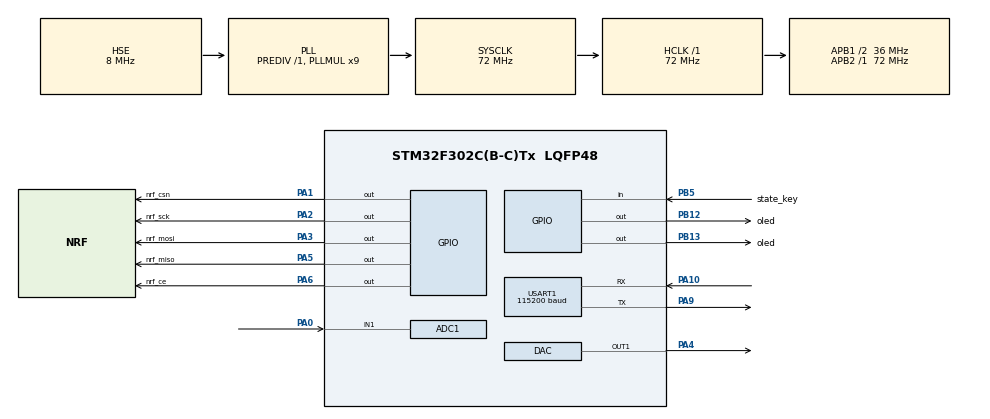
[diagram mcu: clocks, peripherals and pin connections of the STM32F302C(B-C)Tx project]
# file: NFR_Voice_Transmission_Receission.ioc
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ADC1.Channel-1\#ChannelRegularConversion=ADC_CHANNEL_1
ADC1.ExternalTrigConv=ADC_EXTERNALTRIGCONV_T2_TRGO
ADC1.NbrOfConversion=1
ADC1.NbrOfConversionFlag=1
ADC1.Offset-1\#ChannelRegularConversion=0
ADC1.OffsetNumber-1\#ChannelRegularConversion=ADC_OFFSET_NONE
ADC1.Rank-1\#ChannelRegularConversion=1
ADC1.SamplingTime-1\#ChannelRegularConversion=ADC_SAMPLETIME_1CYCLE_5
ADC1.SamplingTimeOPAMP-1\#ChannelRegularConversion=ADC_SAMPLETIME_61CYCLES_5
ADC1.master=1
DAC.DAC_OutputBuffer-DAC_OUT1=DAC_OUTPUTBUFFER_ENABLE
DAC.DAC_Trigger-DAC_OUT1=DAC_TRIGGER_T2_TRGO
DAC.WaveGeneration-DAC_OUT1=DISABLE
Dma.ADC1.1.Direction=DMA_PERIPH_TO_MEMORY
Dma.ADC1.1.Instance=DMA1_Channel1
Dma.ADC1.1.MemDataAlignment=DMA_MDATAALIGN_HALFWORD
Dma.ADC1.1.MemInc=DMA_MINC_ENABLE
Dma.ADC1.1.Mode=DMA_NORMAL
Dma.ADC1.1.PeriphDataAlignment=DMA_PDATAALIGN_HALFWORD
Dma.ADC1.1.PeriphInc=DMA_PINC_DISABLE
Dma.ADC1.1.Priority=DMA_PRIORITY_LOW
Dma.DAC_CH1.0.Direction=DMA_MEMORY_TO_PERIPH
Dma.DAC_CH1.0.Instance=DMA1_Channel3
Dma.DAC_CH1.0.MemDataAlignment=DMA_MDATAALIGN_HALFWORD
Dma.DAC_CH1.0.MemInc=DMA_MINC_ENABLE
Dma.DAC_CH1.0.Mode=DMA_CIRCULAR
Dma.DAC_CH1.0.PeriphDataAlignment=DMA_PDATAALIGN_HALFWORD
Dma.DAC_CH1.0.PeriphInc=DMA_PINC_DISABLE
Dma.DAC_CH1.0.Priority=DMA_PRIORITY_HIGH
Dma.Request0=DAC_CH1
Dma.Request1=ADC1
Mcu.Family=STM32F3
Mcu.Name=STM32F302C(B-C)Tx
Mcu.Package=LQFP48
NVIC.DMA1_Channel1_IRQn=true\:0\:0\:false\:false\:true\:false\:true\:true
NVIC.DMA1_Channel3_IRQn=true\:0\:0\:false\:false\:true\:false\:true\:true
NVIC.PriorityGroup=NVIC_PRIORITYGROUP_4
NVIC.TIM3_IRQn=true\:3\:0\:true\:false\:true\:true\:true\:true
PA0.Mode=IN1-Single-Ended
PA0.Signal=ADC1_IN1
PA1.GPIO_Label=nrf_csn
PA1.Signal=GPIO_Output
PA10.Mode=Asynchronous
PA10.Signal=USART1_RX
PA13.Mode=Serial_Wire
PA13.Signal=SYS_JTMS-SWDIO
PA14.Mode=Serial_Wire
PA14.Signal=SYS_JTCK-SWCLK
PA2.GPIO_Label=nrf_sck
PA2.Signal=GPIO_Output
PA3.GPIO_Label=nrf_mosi
PA3.Signal=GPIO_Output
PA4.Signal=COMP_DAC1_group
PA5.GPIO_Label=nrf_miso
PA5.Signal=GPIO_Output
PA6.GPIO_Label=nrf_ce
PA6.Signal=GPIO_Output
PA9.Mode=Asynchronous
PA9.Signal=USART1_TX
PB12.GPIO_Label=oled
PB12.GPIO_Speed=GPIO_SPEED_FREQ_HIGH
PB12.PinState=GPIO_PIN_RESET
PB12.Signal=GPIO_Output
PB13.GPIO_Label=oled
PB13.GPIO_Speed=GPIO_SPEED_FREQ_HIGH
PB13.Signal=GPIO_Output
PB5.GPIO_Label=state_key
PB5.Signal=GPIO_Input
PC14-OSC32_IN.Mode=LSE-External-Oscillator
PC14-OSC32_IN.Signal=RCC_OSC32_IN
PC15-OSC32_OUT.Mode=LSE-External-Oscillator
PC15-OSC32_OUT.Signal=RCC_OSC32_OUT
PF0-OSC_IN.Mode=HSE-External-Oscillator
PF0-OSC_IN.Signal=RCC_OSC_IN
PF1-OSC_OUT.Mode=HSE-External-Oscillator
PF1-OSC_OUT.Signal=RCC_OSC_OUT
ProjectManager.HeapSize=0x200
ProjectManager.StackSize=0x400
ProjectManager.TargetToolchain=MDK-ARM V5.32
RCC.AHBFreq_Value=72000000
RCC.APB1CLKDivider=RCC_HCLK_DIV2
RCC.APB1Freq_Value=36000000
RCC.APB1TimFreq_Value=72000000
RCC.APB2Freq_Value=72000000
RCC.APB2TimFreq_Value=72000000
RCC.CortexFreq_Value=72000000
RCC.FLatency=FLASH_LATENCY_2
RCC.HCLKFreq_Value=72000000
RCC.HSE_VALUE=8000000
RCC.HSI_VALUE=8000000
RCC.PLLMUL=RCC_PLL_MUL9
RCC.PLLSourceVirtual=RCC_PLLSOURCE_HSE
RCC.SYSCLKFreq_VALUE=72000000
RCC.SYSCLKSourceVirtual=RCC_SYSCLKSOURCE_PLLCLK
RCC.USBFreq_Value=72000000
SH.COMP_DAC1_group.0=DAC_OUT1,DAC_OUT1
TIM2.AutoReloadPreload=TIM_AUTORELOAD_PRELOAD_DISABLE
TIM2.ClockDivision=TIM_CLOCKDIVISION_DIV1
TIM2.CounterMode=TIM_COUNTERMODE_UP
TIM2.Period=7200-1
TIM2.Prescaler=0
TIM2.TIM_MasterOutputTrigger=TIM_TRGO_UPDATE
TIM2.TIM_MasterSlaveMode=TIM_MASTERSLAVEMODE_DISABLE
TIM3.Period=719
TIM3.Prescaler=99
USART1.AutoBaudRateEnableParam=UART_ADVFEATURE_AUTOBAUDRATE_DISABLE
USART1.BaudRate=115200
USART1.DMADisableonRxErrorParam=ADVFEATURE_DMA_ENABLEONRXERROR
USART1.DataInvertParam=ADVFEATURE_DATAINV_DISABLE
USART1.MSBFirstParam=ADVFEATURE_MSBFIRST_DISABLE
USART1.Mode=MODE_TX_RX
USART1.OneBitSampling=UART_ONE_BIT_SAMPLE_DISABLE
USART1.OverSampling=UART_OVERSAMPLING_16
USART1.OverrunDisableParam=ADVFEATURE_OVERRUN_ENABLE
USART1.Parity=PARITY_NONE
USART1.RxPinLevelInvertParam=ADVFEATURE_RXINV_DISABLE
USART1.StopBits=STOPBITS_1
USART1.SwapParam=ADVFEATURE_SWAP_DISABLE
USART1.TxPinLevelInvertParam=ADVFEATURE_TXINV_DISABLE
USART1.VirtualMode-Asynchronous=VM_ASYNC
USART1.WordLength=WORDLENGTH_8B
VP_TIM2_VS_ClockSourceINT.Mode=Internal
VP_TIM3_VS_ClockSourceINT.Mode=Internal
board=custom

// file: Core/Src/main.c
/* USER CODE BEGIN Header */
/**
  ******************************************************************************
  * @file           : main.c
  * @brief          : Main program body
  ******************************************************************************
  * @attention
  *
  * Copyright (c) 2025 STMicroelectronics.
  * All rights reserved.
  *
  * This software is licensed under terms that can be found in the LICENSE file
  * in the root directory of this software component.
  * If no LICENSE file comes with this software, it is provided AS-IS.
  *
  ******************************************************************************
  */
/* USER CODE END Header */
#include "main.h"
#include "adc.h"
#include "dac.h"
#include "dma.h"
#include "tim.h"
#include "usart.h"
#include "gpio.h"

/* USER CODE BEGIN Includes */
#include "oled.h"
#include "key.h"
#include "NRF24L01.h"
#include "Voice_Send.h"
#include "voice_recieve.h"
#include <stdio.h>
/* USER CODE END Includes */

void SystemClock_Config(void);

int main(void)
{

  /* MCU Configuration--------------------------------------------------------*/

  /* Reset of all peripherals, Initializes the Flash interface and the Systick. */
  HAL_Init();

  /* Configure the system clock */
  SystemClock_Config();

  /* Initialize all configured peripherals */
  MX_GPIO_Init();
  MX_DMA_Init();
  MX_ADC1_Init();
  MX_DAC_Init();
  MX_TIM2_Init();
  MX_USART1_UART_Init();
  MX_TIM3_Init();
  /* USER CODE BEGIN 2 */
	OLED_Init();
	Key_Init();
	HAL_TIM_Base_Start_IT(&htim3);
	Voice_Device_Tx_Init();
	Voice_Device_RX_Init();

  /* USER CODE END 2 */

  /* Infinite loop */
  /* USER CODE BEGIN WHILE */
	uint8_t key_num=0;
	uint8_t recieve_flag=0;
	OLED_ShowString(1,1,"555");

  while (1)
  {

		if(Key_GetState())
		{
			current_state=STATE_TRANSMITTING;
			transmitting_state_handler();

		}
		else{

			recieve_flag=receiving_state_handler();
			if(recieve_flag==2)
				printf("警告: 接收中间缓冲区溢.\r\n");
		}

    /* USER CODE END WHILE */

  }
}

void SystemClock_Config(void)
{
  RCC_OscInitTypeDef RCC_OscInitStruct = {0};
  RCC_ClkInitTypeDef RCC_ClkInitStruct = {0};
  RCC_PeriphCLKInitTypeDef PeriphClkInit = {0};

  /** Initializes the RCC Oscillators according to the specified parameters
  * in the RCC_OscInitTypeDef structure.
  */
  RCC_OscInitStruct.OscillatorType = RCC_OSCILLATORTYPE_HSE;
  RCC_OscInitStruct.HSEState = RCC_HSE_ON;
  RCC_OscInitStruct.HSEPredivValue = RCC_HSE_PREDIV_DIV1;
  RCC_OscInitStruct.HSIState = RCC_HSI_ON;
  RCC_OscInitStruct.PLL.PLLState = RCC_PLL_ON;
  RCC_OscInitStruct.PLL.PLLSource = RCC_PLLSOURCE_HSE;
  RCC_OscInitStruct.PLL.PLLMUL = RCC_PLL_MUL9;
  if (HAL_RCC_OscConfig(&RCC_OscInitStruct) != HAL_OK)
  {
    Error_Handler();
  }

  /** Initializes the CPU, AHB and APB buses clocks
  */
  RCC_ClkInitStruct.ClockType = RCC_CLOCKTYPE_HCLK|RCC_CLOCKTYPE_SYSCLK
                              |RCC_CLOCKTYPE_PCLK1|RCC_CLOCKTYPE_PCLK2;
  RCC_ClkInitStruct.SYSCLKSource = RCC_SYSCLKSOURCE_PLLCLK;
  RCC_ClkInitStruct.AHBCLKDivider = RCC_SYSCLK_DIV1;
  RCC_ClkInitStruct.APB1CLKDivider = RCC_HCLK_DIV2;
  RCC_ClkInitStruct.APB2CLKDivider = RCC_HCLK_DIV1;

  if (HAL_RCC_ClockConfig(&RCC_ClkInitStruct, FLASH_LATENCY_2) != HAL_OK)
  {
    Error_Handler();
  }
  PeriphClkInit.PeriphClockSelection = RCC_PERIPHCLK_USART1|RCC_PERIPHCLK_ADC12;
  PeriphClkInit.Usart1ClockSelection = RCC_USART1CLKSOURCE_PCLK2;
  PeriphClkInit.Adc12ClockSelection = RCC_ADC12PLLCLK_DIV1;
  if (HAL_RCCEx_PeriphCLKConfig(&PeriphClkInit) != HAL_OK)
  {
    Error_Handler();
  }
}

void Error_Handler(void)
{
  __disable_irq();
  while (1)
  {
  }
}
